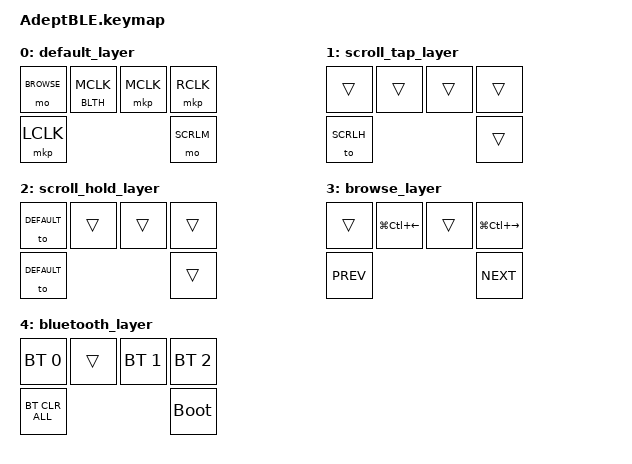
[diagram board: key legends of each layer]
#include <behaviors.dtsi>
#include <dt-bindings/zmk/bt.h>
#include <dt-bindings/zmk/keys.h>
#include <dt-bindings/zmk/pointing.h>
#include <dt-bindings/zmk/outputs.h>

// #include <dt-bindings/zmk/mouse.h>

#define DEFAULT 0
#define SCRLM 1
#define SCRLH 2
#define BROWSE 3
#define BLTH 4

&sl {
  release-after-ms = <2000>;
};

/ {
  combos {
    compatible = "zmk,combos";
    combo_mclick {
      timeout-ms = <50>;
      key-positions = <2 3>;
      bindings = <&mkp MCLK>;
    };
  };
  behaviors {
    ltm: layer-tap-or-mouse {
      compatible = "zmk,behavior-hold-tap";
      #binding-cells = <2>;
      flavor = "tap-preferred";
      tapping-term-ms = <200>;
      bindings = <&mo>, <&mkp>;
    };
    ltk: layer-tap-or-key {
      compatible = "zmk,behavior-hold-tap";
      #binding-cells = <2>;
      flavor = "tap-preferred";
      tapping-term-ms = <200>;
      bindings = <&mo>, <&kp>;
    };
    lhm: layer-tap-hold-or-mouse {
      compatible = "zmk,behavior-hold-tap";
      #binding-cells = <2>;
      flavor = "hold-preferred";
      hold-while-undecided;
      tapping-term-ms = <150>;
      bindings = <&mo>, <&mkp>;
    };
    lhk: layer-tap-hold-or-key {
      compatible = "zmk,behavior-hold-tap";
      #binding-cells = <2>;
      flavor = "hold-preferred";
      hold-while-undecided;
      tapping-term-ms = <150>;
      bindings = <&mo>, <&kp>;
    };
    mto: momentary-and-toggle {
      compatible = "zmk,behavior-hold-tap";
      #binding-cells = <2>;
      flavor = "hold-preferred";
      hold-while-undecided;
      tapping-term-ms = <200>;
      bindings = <&mo>, <&to>;
    };
  };
  keymap {
    compatible = "zmk,keymap";
    default_layer {
      bindings = <
        &mo BROWSE &ltm BLTH MCLK &mkp MCLK &mkp RCLK
        &mkp LCLK                           &mo SCRLM
      >;
    };
    scroll_tap_layer {
      bindings = <
        &trans &trans &trans &trans
        &to SCRLH            &trans
      >;
    };
    scroll_hold_layer {
      bindings = <
        &to DEFAULT &trans &trans &trans
        &to DEFAULT               &trans
      >;
    };
    browse_layer {
      bindings = <
        &trans &kp LG(LC(LEFT)) &trans &kp LG(LC(RIGHT))
        &kp C_PREV                     &kp C_NEXT
      >;
    };
    bluetooth_layer {
      bindings = <
        &bt BT_SEL 0 &trans &bt BT_SEL 1 &bt BT_SEL 2
        &bt BT_CLR_ALL                   &bootloader
      >;
    };
  };
};
